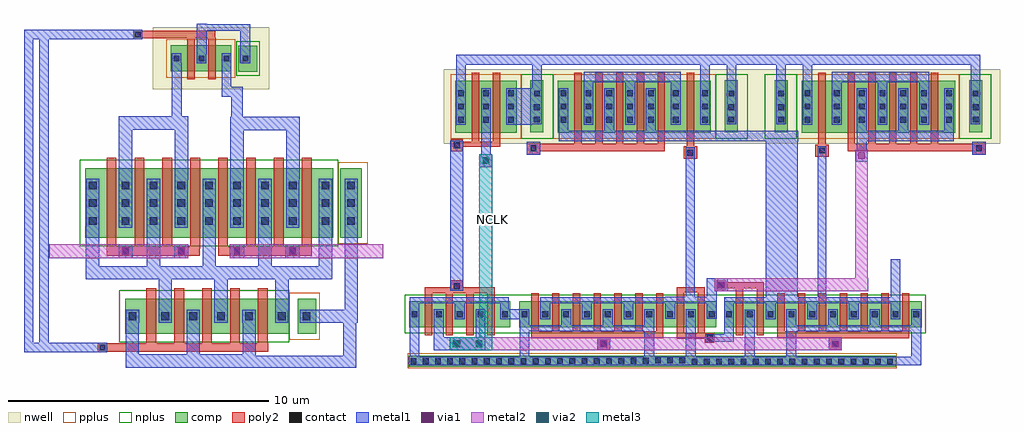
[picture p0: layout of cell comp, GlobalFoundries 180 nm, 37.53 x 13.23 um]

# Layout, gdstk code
from math import pi, radians
import gdstk
lib = gdstk.Library(unit=1e-6, precision=5e-09)
def R(c, l, rs):  # rectangles x0, y0, x1, y1
    for r in rs: c.add(gdstk.rectangle(r[:2], r[2:], *l))
def A(c, l, x, y, w, h, nx, ny, dx, dy):  # array of equal rectangles
    R(c, l, [(x+i*dx, y+j*dy, x+i*dx+w, y+j*dy+h) for i in range(nx) for j in range(ny)])
def P(c, l, *ps):  # polygons
    for p in ps: c.add(gdstk.Polygon(p, *l))
nwell = (21, 0)
comp = (22, 0)
poly2 = (30, 0)
pplus = (31, 0)
nplus = (32, 0)
contact = (33, 0)
metal1 = (34, 0)
via1 = (35, 0)
metal2 = (36, 0)
via2 = (38, 0)
metal3 = (42, 0)

nfet_2 = lib.new_cell('nfet$2')
R(nfet_2, comp, [(-0.42,0,0,2), (0,0,6.26,2), (6.26,0,6.685,2), (6.895,0,7.515,2)])
A(nfet_2, poly2, 0.19, -0.3, 0.28, 2.6, 8, 1, 0.8, 0)
R(nfet_2, pplus, [(6.835,-0.17,7.685,2.17)])
R(nfet_2, nplus, [(-0.59,-0.24,6.835,2.24)])
A(nfet_2, contact, -0.32, 0.38, 0.22, 0.22, 1, 3, 0, 0.51)
A(nfet_2, contact, 0.62, 0.38, 0.22, 0.22, 7, 3, 0.8, 0.51)
A(nfet_2, contact, 6.36, 0.38, 0.22, 0.22, 1, 3, 0, 0.51)
A(nfet_2, contact, 7.095, 0.38, 0.22, 0.22, 1, 3, 0, 0.51)
A(nfet_2, metal1, 0.54, 0.3, 0.38, 1.4, 7, 1, 0.8, 0)
R(nfet_2, metal1, [(-0.4,0.3,-0.02,1.7), (6.28,0.3,6.66,1.7), (7.015,0.3,7.395,1.7)])

nfet_3 = lib.new_cell('nfet$3')
R(nfet_3, comp, [(-0.42,0,0,1), (0,0,3.86,1), (3.86,0,4.28,1), (4.535,0,5.065,1)])
A(nfet_3, poly2, 0.19, -0.3, 0.28, 1.6, 5, 1, 0.8, 0)
R(nfet_3, pplus, [(4.28,-0.17,5.16,1.17)])
R(nfet_3, nplus, [(-0.59,-0.24,4.28,1.24)])
A(nfet_3, contact, 0.62, 0.39, 0.22, 0.22, 4, 1, 0.8, 0)
R(nfet_3, contact, [(-0.32,0.39,-0.1,0.61), (3.96,0.39,4.18,0.61), (4.67,0.39,4.89,0.61)])
A(nfet_3, metal1, 0.54, 0.31, 0.38, 0.38, 4, 1, 0.8, 0)
R(nfet_3, metal1, [(-0.4,0.31,-0.02,0.69), (3.88,0.31,4.26,0.69), (4.59,0.31,4.97,0.69)])

pfet_2 = lib.new_cell('pfet$2')
R(pfet_2, nwell, [(-1.15,-0.69,3.34,1.69)])
R(pfet_2, comp, [(2.15,-0.005,2.88,0.995), (-0.46,0,0,1), (0,0,1.46,1), (1.46,0,1.87,1)])
R(pfet_2, poly2, [(0.19,-0.3,0.47,1.3), (0.99,-0.3,1.27,1.3)])
R(pfet_2, pplus, [(-0.63,-0.24,2.03,1.24)])
R(pfet_2, nplus, [(2.07,-0.17,2.97,1.17)])
A(pfet_2, contact, -0.34, 0.39, 0.22, 0.22, 3, 1, 0.96, 0)
R(pfet_2, contact, [(2.31,0.39,2.53,0.61)])
A(pfet_2, metal1, -0.42, 0.31, 0.38, 0.38, 3, 1, 0.96, 0)
R(pfet_2, metal1, [(2.23,0.31,2.61,0.69)])

via_dev = lib.new_cell('via_dev')
R(via_dev, metal1, [(0,0,0.55,0.55)])
R(via_dev, via1, [(0.145,0.145,0.405,0.405)])
R(via_dev, metal2, [(0,0,0.55,0.55)])

preamp = lib.new_cell('preamp')
R(preamp, poly2, [(-0.77,-4.68,-0.41,-4.32), (-0.57,-4.655,5.78,-4.34), (-0.43,-0.975,3.15,-0.615), (3.855,-0.975,7.45,-0.615), (0.585,7.36,0.945,7.72), (0.93,7.4,3.75,7.685)])
A(preamp, contact, 0.19, -0.905, 0.22, 0.22, 4, 1, 2.14, 0)
R(preamp, contact, [(-0.7,-4.61,-0.48,-4.39), (0.655,7.43,0.875,7.65)])
R(preamp, metal1, [(0.305,-5.27,5.29,-4.76), (2.645,-4.965,3.155,-3.52), (0.3,-4.945,0.81,-3.495), (4.795,-4.93,5.305,-3.505), (-3.61,-4.68,-0.41,-4.32), (-3.61,-4.34,-3.25,7.7), (-3.02,-4.32,-2.66,7.72), (1.565,-3.1,2.075,-1.795), (3.715,-3.085,4.225,-1.76), (6.055,-3.08,6.565,-1.76), (-1.23,-1.88,8.25,-1.37), (7.73,-1.795,8.24,0.155), (-1.23,-1.6,-0.72,0.15), (1.11,-1.6,1.62,0.14), (3.26,-1.6,3.77,0.15), (5.4,-1.6,5.91,0.15), (0.025,-1.07,0.575,-0.52), (0.025,-1.07,0.575,-0.52), (0.025,-1.07,0.575,-0.52), (2.165,-1.07,2.715,-0.52), (2.165,-1.07,2.715,-0.52), (4.305,-1.07,4.855,-0.52), (0.04,1.95,0.55,3.9), (2.195,1.95,2.705,3.9), (4.33,1.95,4.84,3.88), (6.48,1.98,6.99,3.885), (4.32,3.86,6.995,4.37), (0.035,3.88,2.7,4.39), (2.065,4.305,2.45,6.46), (3.025,6.79,3.41,7.945), (-3.61,7.36,0.945,7.72)])
P(preamp, metal1, [(7.5,-3.55),(7.5,-3.05),(8.715,-3.05),(8.715,0.12),(9.225,0.12),(9.215,-3.55)],
  [(5.225,-5.28),(5.225,-4.82),(8.67,-4.82),(8.67,-3.515),(9.17,-3.515),(9.17,-5.28)],
  [(4.355,4.31),(4.355,5.15),(3.985,5.15),(3.985,6.435),(4.365,6.435),(4.365,5.525),(4.805,5.525),(4.805,4.31)],
  [(4.715,6.805),(4.715,7.69),(3.355,7.69),(3.355,7.94),(5.095,7.94),(5.095,6.805)])
R(preamp, via1, [(0.17,-0.925,0.43,-0.665), (0.17,-0.925,0.43,-0.665), (0.17,-0.925,0.43,-0.665), (2.31,-0.925,2.57,-0.665), (2.31,-0.925,2.57,-0.665), (4.45,-0.925,4.71,-0.665)])
R(preamp, metal2, [(-2.63,-1.07,2.715,-0.52), (0.025,-1.07,0.575,-0.52), (0.025,-1.07,0.575,-0.52), (0.025,-1.07,0.575,-0.52), (2.165,-1.07,2.715,-0.52), (2.165,-1.07,2.715,-0.52), (4.305,-1.07,4.855,-0.52), (4.85,-1.07,10.195,-0.52)])
preamp.add(gdstk.Reference(nfet_2, (-0.685,-0.285), magnification=1.34))
preamp.add(gdstk.Reference(nfet_3, (0.845,-3.965), magnification=1.34))
preamp.add(gdstk.Reference(pfet_2, (2.485,6.12)))
r = gdstk.Reference(via_dev, (6.445,-1.07)); r.repetition = gdstk.Repetition(1, 1, v1=(0,0), v2=(0,0)); preamp.add(r)
r = gdstk.Reference(via_dev, (4.305,-1.07)); r.repetition = gdstk.Repetition(1, 1, v1=(0,0), v2=(0,0)); preamp.add(r)
r = gdstk.Reference(via_dev, (2.165,-1.07)); r.repetition = gdstk.Repetition(1, 1, v1=(0,0), v2=(0,0)); preamp.add(r)
r = gdstk.Reference(via_dev, (0.025,-1.07)); r.repetition = gdstk.Repetition(1, 1, v1=(0,0), v2=(0,0)); preamp.add(r)
preamp.add(gdstk.Label('CLK', (-3.595,7.7), layer=34, texttype=0))
preamp.add(gdstk.Label('GND', (9.16,-4.875), layer=34, texttype=0))
preamp.add(gdstk.Label('Vdd', (3.37,7.915), layer=34, texttype=0))
preamp.add(gdstk.Label('Vout1', (2.14,5.015), layer=34, texttype=0))
preamp.add(gdstk.Label('Vout2', (4.76,4.945), layer=34, texttype=0))
preamp.add(gdstk.Label('Vout2', (4.775,4.69), layer=34, texttype=10))
preamp.add(gdstk.Label('Vout1', (2.105,4.815), layer=34, texttype=10))
preamp.add(gdstk.Label('GND', (9.14,-4.445), layer=34, texttype=10))
preamp.add(gdstk.Label('Vdd', (4.055,7.9), layer=34, texttype=10))
preamp.add(gdstk.Label('CLK', (-3.59,7.56), layer=34, texttype=10))
preamp.add(gdstk.Label('Vin1', (6.98,-1.06), layer=36, texttype=10))
preamp.add(gdstk.Label('Vin2', (2.7,-1.06), layer=36, texttype=10))
preamp.add(gdstk.Label('Vin2', (0.56,-1.06), layer=36, texttype=10))

nfet_1 = lib.new_cell('nfet$1')
R(nfet_1, comp, [(-0.35,0,7.24,1)])
R(nfet_1, poly2, [(0.09,-0.3,0.37,1.51), (2.49,-0.3,2.77,1.3), (3.29,-0.3,3.57,1.3), (6.49,-0.3,6.77,1.3)])
R(nfet_1, nplus, [(-0.51,-0.24,7.4,1.24)])
R(nfet_1, contact, [(-0.28,0.39,-0.06,0.61), (2.92,0.39,3.14,0.61), (6.92,0.39,7.14,0.61)])
R(nfet_1, metal1, [(2.84,0.31,3.22,0.69)])

pfet = lib.new_cell('pfet')
R(pfet, comp, [(-5.365,3.24,-4.705,5.24), (-4.705,3.24,-4.245,5.24)])
R(pfet, poly2, [(-5.175,2.655,-4.895,5.54)])
R(pfet, pplus, [(-5.195,3,-4.06,5.48)])
A(pfet, contact, -4.585, 3.62, 0.22, 0.22, 1, 3, 0, 0.51)
R(pfet, metal1, [(-4.665,3.54,-4.285,5.88)])

pmos = lib.new_cell('PMOS')
R(pmos, nwell, [(-3.335,2.32,6.035,5.2)])
R(pmos, comp, [(-1.605,2.76,-1.145,4.76), (-1.145,2.76,2.715,4.76), (2.715,2.76,3.175,4.76), (-2.65,2.765,-2.15,4.765), (4.83,2.765,5.33,4.765)])
P(pmos, comp, [(3.175,2.76),(3.175,4.76),(3.175,4.76),(3.175,2.76)])
A(pmos, poly2, 0.645, 2.28, 0.28, 2.78, 3, 1, 0.8, 0)
R(pmos, poly2, [(3.245,1.745,3.77,2.235), (-2.795,1.91,-2.27,2.4), (-2.28,2.045,2.525,2.32), (-0.155,2.25,0.125,5.06), (-0.955,2.27,-0.675,5.06)])
R(pmos, pplus, [(-1.775,2.52,3.345,5)])
R(pmos, nplus, [(-2.995,2.52,-1.775,5), (4.485,2.52,5.705,5)])
A(pmos, contact, -1.485, 3.14, 0.22, 0.22, 1, 3, 0, 0.51)
A(pmos, contact, -0.525, 3.14, 0.22, 0.22, 4, 3, 0.8, 0.51)
A(pmos, contact, 2.835, 3.14, 0.22, 0.22, 1, 3, 0, 0.51)
R(pmos, contact, [(-2.64,2.045,-2.42,2.265), (-2.51,3.15,-2.29,3.37), (4.97,3.15,5.19,3.37), (-2.51,3.625,-2.29,3.845), (4.97,3.625,5.19,3.845), (-2.505,4.15,-2.285,4.37), (4.975,4.15,5.195,4.37)])
R(pmos, metal1, [(-2.795,1.91,-2.27,2.4), (-1.565,2.42,7.65,2.82), (-1.565,2.82,-1.185,4.46), (0.195,2.82,0.575,4.46), (1.795,2.82,2.175,4.46), (-0.605,3.06,-0.225,4.955), (0.995,3.06,1.375,5.04), (2.755,3.06,3.135,5.09), (-2.58,3.07,-2.205,5.76), (4.895,3.07,5.275,5.74), (-0.605,4.695,3.14,5.095), (-5.455,5.375,3.755,5.76), (3.755,5.375,5.2,5.755)])
pmos.add(gdstk.Reference(pfet, (8.54,-0.48)))

nfet = lib.new_cell('nfet')
R(nfet, comp, [(1.84,2.685,2.26,3.685), (2.26,2.685,5.32,3.685), (5.32,2.685,5.74,3.685)])
R(nfet, poly2, [(2.45,2.385,2.73,3.985), (3.25,2.385,3.53,4.12), (4.05,2.385,4.33,4.035), (4.85,2.385,5.13,3.985)])
R(nfet, nplus, [(1.67,2.445,5.91,3.925)])
A(nfet, contact, 2.88, 3.075, 0.22, 0.22, 3, 1, 0.8, 0)
R(nfet, contact, [(1.94,3.075,2.16,3.295), (5.42,3.075,5.64,3.295)])
R(nfet, metal1, [(1.86,1.28,2.24,3.835), (4.4,1.87,4.78,3.375), (2.8,1.985,3.18,3.375), (3.6,2.995,3.98,3.725), (5.34,2.995,6.115,3.375)])

pfet_1 = lib.new_cell('pfet$1')
R(pfet_1, nwell, [(-3.98,-5.435,-0.72,-2.555)])
R(pfet_1, comp, [(-3.54,-4.995,-3.08,-2.995), (-3.08,-4.995,-1.62,-2.995), (-1.62,-4.995,-1.16,-2.995)])
R(pfet_1, poly2, [(-2.89,-5.295,-2.61,-2.605), (-2.09,-5.295,-1.81,-2.635)])
R(pfet_1, pplus, [(-3.71,-5.235,-0.99,-2.755)])
A(pfet_1, contact, -3.42, -4.615, 0.22, 0.22, 3, 3, 0.96, 0.51)
R(pfet_1, metal1, [(-1.58,-5.995,-1.2,-3.295), (-4.13,-4.695,-3.12,-3.295), (-2.54,-4.695,-2.16,-1.77)])

amp = lib.new_cell('amp')
R(amp, nwell, [(3.87,8.635,13.245,11.515)])
R(amp, comp, [(-9.495,0.07,9.25,0.49), (-5.25,1.59,2.34,2.59), (5.615,9.075,6.075,11.075), (6.075,9.075,6.735,11.075), (6.735,9.075,7.195,11.075), (7.195,9.075,11.055,11.075), (11.055,9.075,11.515,11.075), (4.58,9.08,5.08,11.08), (12.06,9.08,12.56,11.08)])
P(amp, comp, [(6.735,9.075),(6.735,11.075),(6.735,11.075),(6.735,9.075)])
A(amp, poly2, -4.78, 1.29, 0.28, 1.6, 7, 1, 0.8, 0)
A(amp, poly2, 7.085, 1.29, 0.28, 1.6, 3, 1, 0.8, 0)
A(amp, poly2, 7.385, 8.595, 0.28, 2.78, 3, 1, 0.8, 0)
R(amp, poly2, [(6.655,0.695,7.155,1.165), (-2.24,0.7,-1.74,1.17), (1.9,0.99,2.26,1.35), (0.82,1.145,1.9,1.35), (4.685,1.165,9.765,1.425), (-4.78,1.17,0.3,1.43), (0.82,1.24,1.1,2.94), (1.62,1.24,1.9,2.94), (3.885,1.29,4.165,3.095), (4.685,1.29,4.965,2.89), (-8.88,2.89,-6.19,3.12), (-7.875,2.935,-7.415,3.395), (0.82,2.94,1.9,3.135), (2.345,3.03,2.705,3.39), (2.6,3.09,4.165,3.325), (6.14,8.15,6.66,8.61), (12.18,8.225,12.705,8.715), (-7.875,8.355,-7.415,8.815), (7.385,8.36,12.19,8.635), (-7.45,8.52,-5.975,8.715), (9.785,8.565,10.065,11.375), (10.585,8.585,10.865,11.375), (6.265,8.61,6.545,11.375)])
R(amp, pplus, [(-9.535,0.02,9.275,0.585), (5.43,8.835,6.565,11.315), (6.565,8.835,11.685,11.315)])
R(amp, nplus, [(-5.41,1.35,2.5,2.83), (4.205,8.835,5.425,11.315), (11.685,8.835,12.905,11.315)])
A(amp, contact, 1.39, 0.16, 0.22, 0.22, 17, 1, 0.47, 0)
A(amp, contact, -9.42, 0.17, 0.22, 0.22, 12, 1, 0.47, 0)
A(amp, contact, -5.15, 1.98, 0.22, 0.22, 10, 1, 0.8, 0)
A(amp, contact, 3.515, 1.98, 0.22, 0.22, 3, 1, 0.8, 0)
A(amp, contact, 6.715, 1.98, 0.22, 0.22, 4, 1, 0.8, 0)
A(amp, contact, 5.735, 9.455, 0.22, 0.22, 1, 3, 0, 0.51)
A(amp, contact, 6.855, 9.455, 0.22, 0.22, 1, 3, 0, 0.51)
A(amp, contact, 7.815, 9.455, 0.22, 0.22, 4, 3, 0.8, 0.51)
A(amp, contact, 11.175, 9.455, 0.22, 0.22, 1, 3, 0, 0.51)
R(amp, contact, [(1.39,0.16,1.61,0.38), (-3.78,0.175,-3.56,0.395), (-3.31,0.175,-3.09,0.395), (-2.84,0.18,-2.62,0.4), (-2.37,0.18,-2.15,0.4), (-1.9,0.185,-1.68,0.405), (-1.43,0.185,-1.21,0.405), (-1.43,0.185,-1.21,0.405), (-0.96,0.19,-0.74,0.41), (-0.49,0.19,-0.27,0.41), (-0.49,0.19,-0.27,0.41), (-0.02,0.195,0.2,0.415), (0.45,0.195,0.67,0.415), (0.45,0.195,0.67,0.415), (0.92,0.2,1.14,0.42), (6.795,0.835,7.015,1.055), (-2.1,0.84,-1.88,1.06), (1.97,1.06,2.19,1.28), (-7.755,3.055,-7.535,3.275), (2.415,3.1,2.635,3.32), (1.225,8.185,1.445,8.405), (6.29,8.27,6.51,8.49), (12.33,8.36,12.55,8.58), (-7.755,8.475,-7.535,8.695), (4.72,9.465,4.94,9.685), (12.2,9.465,12.42,9.685), (4.72,9.94,4.94,10.16), (12.2,9.94,12.42,10.16), (4.715,10.465,4.935,10.685), (12.195,10.465,12.415,10.685)])
A(amp, metal1, -5.23, 1.9, 0.38, 0.38, 7, 1, 0.8, 0)
A(amp, metal1, 6.635, 1.9, 0.38, 0.38, 5, 1, 0.8, 0)
A(amp, metal1, -4.43, 2.28, 0.38, 0.23, 4, 1, 1.6, 0)
R(amp, metal1, [(-9.49,0.13,10.215,0.45), (9.835,0.13,10.215,1.9), (-5.23,0.44,-4.85,1.9), (-0.43,0.45,-0.05,1.9), (1.17,0.45,1.55,1.9), (3.435,0.45,3.815,2.27), (5.035,0.45,5.415,1.9), (6.655,0.695,7.155,1.195), (-8.52,0.7,-6.54,1.2), (-2.24,0.7,-1.74,1.2), (1.91,1.035,3.015,1.315), (2.635,1.035,3.015,2.75), (-5.23,1.43,-0.05,1.67), (-2.03,1.43,-1.65,1.9), (5.035,1.43,10.215,1.67), (8.235,1.435,8.615,1.9), (-3.63,1.44,-3.25,1.9), (6.635,1.45,7.015,1.9), (4.235,1.895,4.615,2.75), (1.17,1.9,1.55,2.28), (5.035,1.9,5.415,2.28), (0.37,1.91,0.75,2.28), (1.97,1.91,2.35,3.48), (-5.98,2.28,-5.64,2.595), (5.835,2.28,6.215,2.75), (7.435,2.28,7.815,2.51), (9.035,2.28,9.415,4.205), (-9.445,2.51,-5.64,2.74), (-4.43,2.51,0.75,2.75), (2.635,2.51,4.615,2.75), (4.235,2.51,9.415,2.75), (0.37,2.515,2.35,2.755), (1.165,2.64,1.505,8.505), (6.23,2.64,6.57,8.55), (4.245,2.745,5.47,9.015), (2.28,2.98,2.78,3.48), (-7.895,2.995,-7.395,3.415), (-7.895,2.995,-7.395,8.765), (-6.77,7.75,-6.27,8.25), (7.69,7.96,8.15,8.42), (7.735,7.96,8.115,10.775), (12.18,8.225,12.705,8.715), (7.735,8.735,11.475,9.135), (9.335,9.135,9.715,10.775), (11.095,9.135,11.475,10.775), (5.655,9.375,6.035,11.715), (6.775,9.375,7.155,11.405), (8.535,9.375,8.915,11.355), (10.135,9.375,10.515,11.27), (4.635,9.385,5.015,12.055), (12.115,9.385,12.49,12.075), (6.77,11.01,10.515,11.41), (2.87,11.69,6.155,12.07), (6.155,11.69,12.49,12.075)])
R(amp, via1, [(6.775,0.815,7.035,1.075), (-7.775,0.82,-7.515,1.08), (-2.12,0.82,-1.86,1.08), (2.395,3.08,2.655,3.34), (-6.65,7.87,-6.39,8.13), (7.79,8.06,8.05,8.32)])
R(amp, metal2, [(6.655,0.695,7.155,1.195), (-7.92,0.7,7.125,1.2), (2.28,2.98,8.17,3.48), (7.685,2.99,8.15,8.42)])
amp.add(gdstk.Reference(nfet_1, (2.995,1.59)))
amp.add(gdstk.Reference(pmos, (-2.165,6.315)))
amp.add(gdstk.Reference(nfet, (-11.32,-1.095)))
amp.add(gdstk.Reference(pfet_1, (-8.87,6.08), rotation=pi))
amp.add(gdstk.Label('Vin2', (12.245,8.265), layer=34, texttype=10))
amp.add(gdstk.Label('Vin1', (-4.93,8.33), layer=34, texttype=10))
amp.add(gdstk.Label('Vdd', (-6.21,11.975), layer=34, texttype=10))
amp.add(gdstk.Label('CLK', (-7.83,8.085), layer=34, texttype=10))
amp.add(gdstk.Label('Vout1', (9.09,2.975), layer=34, texttype=10))
amp.add(gdstk.Label('GND', (-9.405,0.94), layer=34, texttype=10))
amp.add(gdstk.Label('Vout2', (2.87,7.69), layer=36, texttype=10))

via_dev_3 = lib.new_cell('via_dev$3')
R(via_dev_3, metal2, [(-0.01,0.43,0.49,0.93)])
R(via_dev_3, via2, [(0.11,0.55,0.37,0.81)])
R(via_dev_3, metal3, [(-0.01,0.43,0.49,0.93)])

via_dev_2 = lib.new_cell('via_dev$2')
R(via_dev_2, metal1, [(0,0,0.5,0.5)])
R(via_dev_2, via1, [(0.12,0.12,0.38,0.38)])
R(via_dev_2, metal2, [(0,0,0.5,0.5)])

comp_ = lib.new_cell('comp')
R(comp_, metal3, [(-58.895,30.34,-57.745,30.84), (-58.245,30.34,-57.745,37.39)])
r = gdstk.Reference(preamp, (-72.15,34.945)); r.repetition = gdstk.Repetition(1, 1, v1=(0,0), v2=(0,0)); comp_.add(r)
r = gdstk.Reference(amp, (-51.475,29.64)); r.repetition = gdstk.Repetition(1, 1, v1=(0,0), v2=(0,0)); comp_.add(r)
r = gdstk.Reference(via_dev_3, (-58.235,36.96)); r.repetition = gdstk.Repetition(1, 1, v1=(0,0), v2=(0,0)); comp_.add(r)
r = gdstk.Reference(via_dev_2, (-58.515,30.34)); r.repetition = gdstk.Repetition(1, 1, v1=(0,0), v2=(0,0)); comp_.add(r)
r = gdstk.Reference(via_dev_3, (-58.505,29.91)); r.repetition = gdstk.Repetition(1, 1, v1=(0,0), v2=(0,0)); comp_.add(r)
r = gdstk.Reference(via_dev_3, (-59.385,29.91)); r.repetition = gdstk.Repetition(1, 1, v1=(0,0), v2=(0,0)); comp_.add(r)
comp_.add(gdstk.Label('NCLK', (-57.75,35.39), layer=42, texttype=0))

lib.write_gds('comp.gds')
